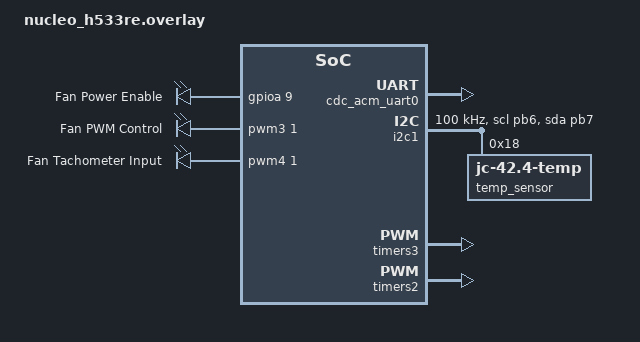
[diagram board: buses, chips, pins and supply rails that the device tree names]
/* --- Device Tree Root --- */

/ {
	/* Fan Hardware Control */
	fan_hw {
		compatible = "gpio-leds";
		fan_enable: fan_enable {
			gpios = <&gpioa 9 GPIO_ACTIVE_HIGH>;
			label = "Fan Power Enable";
		};
	};

	/* Fan PWM & Tachometer Signals */
	fan_signals {
		compatible = "pwm-leds";
		fan_pwm: fan_pwm {
			pwms = <&pwm3 1 40000 PWM_POLARITY_NORMAL>;
			label = "Fan PWM Control";
		};

		tacho_input: tacho_input {
			pwms = <&pwm4 1 0 PWM_POLARITY_NORMAL>;
			label = "Fan Tachometer Input";
		};
	};
};

/* --- USB CDC ACM UART --- */

&zephyr_udc0 {
	cdc_acm_uart0: cdc_acm_uart0 {
		compatible = "zephyr,cdc-acm-uart";
	};
};

/* --- I2C: Temperature Sensor --- */

&i2c1 {
	status = "okay";
	pinctrl-0 = <&i2c1_scl_pb6 &i2c1_sda_pb7>;
	pinctrl-names = "default";
	clock-frequency = <I2C_BITRATE_STANDARD>;

	temp_sensor: mcp9808@18 {
		compatible = "jedec,jc-42.4-temp";
		reg = <0x18>;
	};
};

/* --- Timer 3: Fan PWM (TIM3 CH1 on PB4) --- */

&timers3 {
	status = "okay";
	st,prescaler = <0>;

	pwm3: pwm {
		status = "okay";
		pinctrl-0 = <&tim3_ch1_pb4>;
		pinctrl-names = "default";
	};
};

/* --- Timer 2: Tachometer Input (TIM2 CH1 on PA0) --- */

&timers2 {
	status = "okay";
	st,prescaler = <0>;

	pwm4: pwm {
		status = "okay";
		pinctrl-0 = <&tim2_ch1_pa0>;
		pinctrl-names = "default";
	};
};

/* --- Pin Configuration --- */

&pinctrl {
	/* Timer 3, Channel 1 (PWM) */
	tim3_ch1_pb4: tim3_ch1_pb4 {
		pinmux = <STM32_PINMUX('B', 4, AF2)>;
		bias-pull-up;
	};

	/* Timer 2, Channel 1 (Tachometer) */
	tim2_ch1_pa0: tim2_ch1_pa0 {
		pinmux = <STM32_PINMUX('A', 0, AF1)>;
		bias-pull-up;
	};

	/* I2C1 Serial Clock */
	i2c1_scl_pb6: i2c1_scl_pb6 {
		pinmux = <STM32_PINMUX('B', 6, AF4)>;
		drive-open-drain;
		bias-pull-up;
	};

	/* I2C1 Serial Data */
	i2c1_sda_pb7: i2c1_sda_pb7 {
		pinmux = <STM32_PINMUX('B', 7, AF4)>;
		drive-open-drain;
		bias-pull-up;
	};
};

/* --- Disabled Peripherals --- */

&usart1 { status = "disabled"; };
&usart2 { status = "disabled"; };
&spi1 { status = "disabled"; };
&spi2 { status = "disabled"; };
&spi3 { status = "disabled"; };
